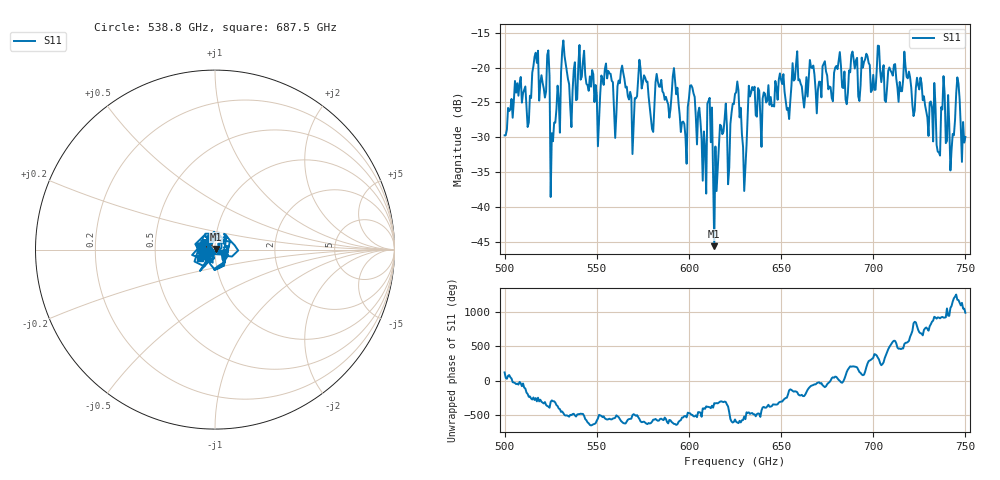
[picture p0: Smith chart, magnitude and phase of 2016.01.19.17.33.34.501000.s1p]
!Created with skrf (http://scikit-rf.org).
# GHz S RI R 50.0
!freq ReS11 ImS11
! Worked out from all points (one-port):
!   401 points, 500 GHz to 750 GHz, reference 50 ohm
!   lowest |S11| = -45.6 dB at 613.8 GHz (marker M1), VSWR 1.01, Z = 50.4 + j0.29 ohm
!   |S11| at or under -10 dB: start of sweep to end of sweep
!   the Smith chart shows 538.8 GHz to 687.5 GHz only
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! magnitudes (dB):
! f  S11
! 500 GHz  -29.7
! 506.9 GHz  -22.2
! 513.1 GHz  -27.9
! 516.9 GHz  -17.9
! 523.1 GHz  -18.2
! 526.2 GHz  -30.6
! 531.2 GHz  -17.6
! 550 GHz  -24.0
! 562.5 GHz  -22.3
! 570 GHz  -28.4
! 573.8 GHz  -20.1
! 593.8 GHz  -22.9
! 597.5 GHz  -28.1
! 601.9 GHz  -22.9
! 608.1 GHz  -29.2
! 611.2 GHz  -24.3
! 613.8 GHz  -45.6
! 625 GHz  -23.8
! 630 GHz  -37.7
! 633.8 GHz  -23.6
! 656.2 GHz  -19.4
! 687.5 GHz  -20.7
! 718.8 GHz  -21.5
! 735 GHz  -32.1
! 738.1 GHz  -21.2
! 743.1 GHz  -29.5
! 745.6 GHz  -21.4
! 750 GHz  -30.0
